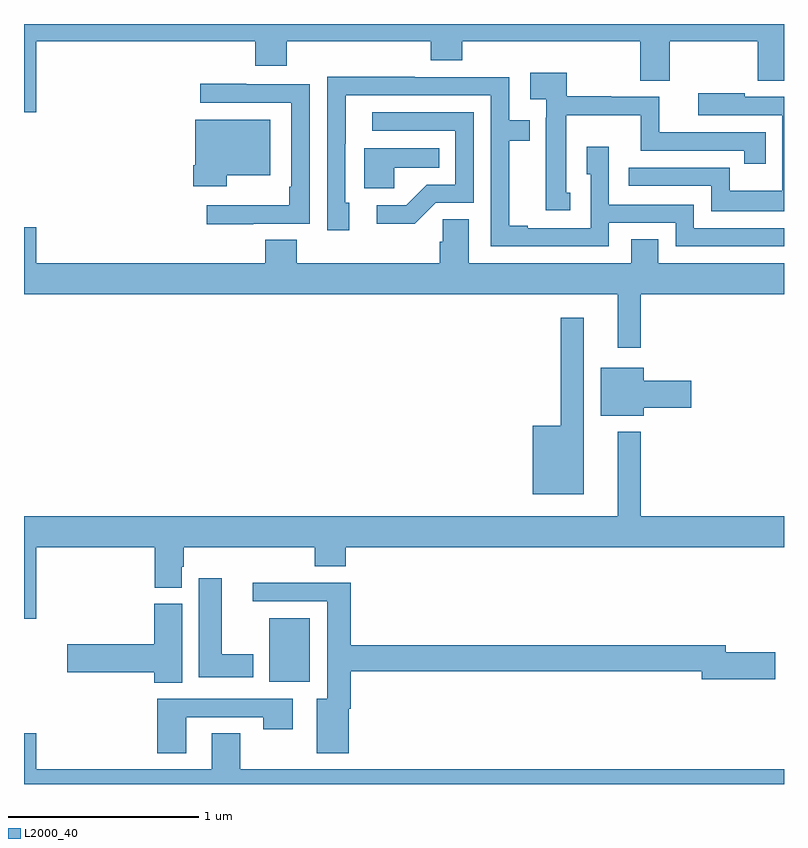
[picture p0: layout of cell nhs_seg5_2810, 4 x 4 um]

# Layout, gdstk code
import gdstk
lib = gdstk.Library(unit=1e-6, precision=1e-09)
def R(c, l, rs):  # rectangles x0, y0, x1, y1
    for r in rs: c.add(gdstk.rectangle(r[:2], r[2:], *l))
def P(c, l, *ps):  # polygons
    for p in ps: c.add(gdstk.Polygon(p, *l))
L2000_40 = (2000, 40)

nhs_seg5_2810 = lib.new_cell('nhs_seg5_2810')
R(nhs_seg5_2810, L2000_40, [(274.292,905.336,274.504,905.671)])
P(nhs_seg5_2810, L2000_40, [(273.064,908.708),(274.217,908.708),(274.217,908.58),(274.382,908.58),(274.382,908.708),(275.141,908.708),(275.141,908.609),(275.306,908.609),(275.306,908.708),(276.244,908.708),(276.244,908.5),(276.399,908.5),(276.399,908.708),(276.862,908.708),(276.862,908.5),(277,908.5),(277,908.799),(273,908.799),(273,908.334),(273.064,908.334)],
  [(275.875,907.911),(275.854,907.911),(275.854,908.318),(276.245,908.318),(276.245,908.133),(276.792,908.133),(276.792,908.064),(276.905,908.064),(276.905,908.229),(276.344,908.229),(276.344,908.415),(276.09,908.415),(276.09,908.42),(275.857,908.42),(275.857,908.542),(275.664,908.542),(275.664,908.402),(275.748,908.402),(275.748,908.306),(275.747,908.306),(275.747,907.818),(275.875,907.818)],
  [(276.078,907.752),(276.429,907.752),(276.429,907.629),(277,907.629),(277,907.725),(276.525,907.725),(276.525,907.848),(276.078,907.848),(276.078,908.152),(275.963,908.152),(275.963,908.007),(275.982,908.007),(275.982,907.725),(275.65,907.725),(275.65,907.738),(275.555,907.738),(275.555,908.184),(275.662,908.184),(275.662,908.292),(275.553,908.292),(275.553,908.52),(275.057,908.52),(275.057,908.522),(274.596,908.522),(274.596,907.713),(274.711,907.713),(274.711,907.857),(274.692,907.857),(274.692,908.17),(274.693,908.17),(274.693,908.424),(275.457,908.424),(275.457,907.629),(276.078,907.629)],
  [(274.207,907.749),(274.503,907.749),(274.503,908.481),(274.171,908.481),(274.171,908.485),(273.927,908.485),(273.927,908.385),(274.407,908.385),(274.407,907.942),(274.395,907.942),(274.395,907.846),(273.963,907.846),(273.963,907.745),(274.207,907.745)],
  [(277,908.415),(276.793,908.415),(276.793,908.434),(276.549,908.434),(276.549,908.319),(276.99,908.319),(276.99,907.921),(276.714,907.921),(276.714,908.042),(276.611,908.042),(276.611,908.043),(276.183,908.043),(276.183,907.947),(276.618,907.947),(276.618,907.814),(277,907.814)],
  [(275.166,907.857),(275.367,907.857),(275.367,908.334),(274.833,908.334),(274.833,908.238),(275.271,908.238),(275.271,907.953),(275.12,907.953),(275.012,907.845),(274.857,907.845),(274.857,907.748),(275.056,907.748)],
  [(274.068,908.003),(274.297,908.003),(274.297,908.296),(273.902,908.296),(273.902,908.056),(273.89,908.056),(273.89,907.944),(274.068,907.944)],
  [(274.948,908.042),(275.186,908.042),(275.186,908.146),(274.79,908.146),(274.79,907.934),(274.948,907.934)],
  [(276.247,907.376),(277,907.376),(277,907.54),(276.337,907.54),(276.337,907.667),(276.197,907.667),(276.197,907.54),(275.341,907.54),(275.341,907.772),(275.203,907.772),(275.203,907.652),(275.189,907.652),(275.189,907.54),(274.436,907.54),(274.436,907.664),(274.271,907.664),(274.271,907.54),(273.064,907.54),(273.064,907.729),(273,907.729),(273,907.376),(276.125,907.376),(276.125,907.095),(276.247,907.095)],
  [(275.947,907.252),(275.826,907.252),(275.826,906.685),(275.678,906.685),(275.678,906.323),(275.947,906.323)],
  [(276.262,906.779),(276.511,906.779),(276.511,906.921),(276.262,906.921),(276.262,906.991),(276.035,906.991),(276.035,906.737),(276.262,906.737)],
  [(273.064,906.044),(273.689,906.044),(273.689,905.833),(273.829,905.833),(273.829,905.943),(273.842,905.943),(273.842,906.044),(274.529,906.044),(274.529,905.945),(274.694,905.945),(274.694,906.044),(277,906.044),(277,906.208),(276.247,906.208),(276.247,906.652),(276.125,906.652),(276.125,906.208),(273,906.208),(273,905.67),(273.064,905.67)],
  [(274.207,905.482),(274.042,905.482),(274.042,905.881),(273.92,905.881),(273.92,905.36),(274.207,905.36)],
  [(274.708,905.195),(274.721,905.195),(274.721,905.392),(276.566,905.392),(276.566,905.35),(276.955,905.35),(276.955,905.492),(276.694,905.492),(276.694,905.528),(274.721,905.528),(274.721,905.858),(274.203,905.858),(274.203,905.76),(274.595,905.76),(274.595,905.248),(274.541,905.248),(274.541,904.962),(274.708,904.962)],
  [(273.832,905.748),(273.686,905.748),(273.686,905.534),(273.228,905.534),(273.228,905.387),(273.686,905.387),(273.686,905.332),(273.832,905.332)],
  [(273.853,905.151),(274.258,905.151),(274.258,905.088),(274.414,905.088),(274.414,905.247),(273.701,905.247),(273.701,904.962),(273.853,904.962)],
  [(277,904.876),(274.137,904.876),(274.137,905.066),(273.989,905.066),(273.989,904.876),(273.064,904.876),(273.064,905.065),(273,905.065),(273,904.799),(277,904.799)])

lib.write_gds('nhs_seg5_2810.gds')
